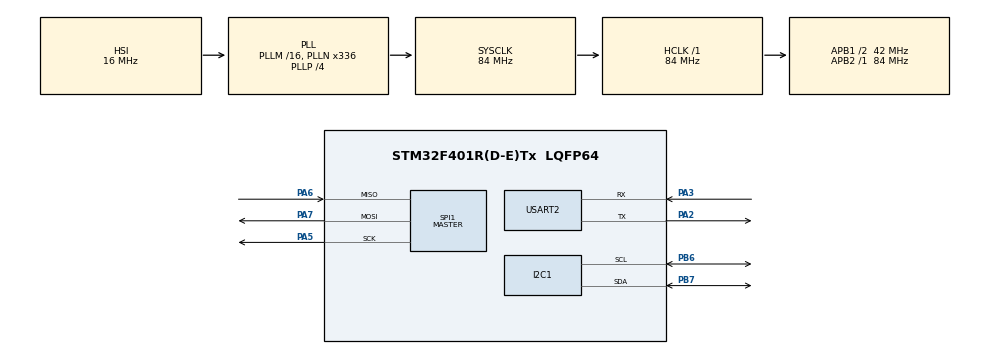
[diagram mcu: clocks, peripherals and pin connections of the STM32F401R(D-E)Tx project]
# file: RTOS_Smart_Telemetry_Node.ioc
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FREERTOS.Tasks01=defaultTask,24,128,StartDefaultTask,Default,NULL,Dynamic,NULL,NULL;SensorTask,24,128,StartSensorTask,As weak,NULL,Dynamic,NULL,NULL;LoggerTask,16,256,StartLoggerTask,As weak,NULL,Dynamic,NULL,NULL;DiagnosticsTask,8,128,StartDiagnosticsTask,As weak,NULL,Dynamic,NULL,NULL
Mcu.Family=STM32F4
Mcu.Name=STM32F401R(D-E)Tx
Mcu.Package=LQFP64
NVIC.PriorityGroup=NVIC_PRIORITYGROUP_4
NVIC.TIM2_IRQn=true\:15\:0\:false\:false\:true\:false\:false\:true\:true
NVIC.TimeBase=TIM2_IRQn
NVIC.TimeBaseIP=TIM2
PA2.Mode=Asynchronous
PA2.Signal=USART2_TX
PA3.Mode=Asynchronous
PA3.Signal=USART2_RX
PA5.Mode=Full_Duplex_Master
PA5.Signal=SPI1_SCK
PA6.Mode=Full_Duplex_Master
PA6.Signal=SPI1_MISO
PA7.Mode=Full_Duplex_Master
PA7.Signal=SPI1_MOSI
PB6.Mode=I2C
PB6.Signal=I2C1_SCL
PB7.Mode=I2C
PB7.Signal=I2C1_SDA
ProjectManager.HeapSize=0x200
ProjectManager.StackSize=0x400
ProjectManager.TargetToolchain=STM32CubeIDE
RCC.48MHZClocksFreq_Value=84000000
RCC.AHBFreq_Value=84000000
RCC.APB1CLKDivider=RCC_HCLK_DIV2
RCC.APB1Freq_Value=42000000
RCC.APB1TimFreq_Value=84000000
RCC.APB2Freq_Value=84000000
RCC.APB2TimFreq_Value=84000000
RCC.CortexFreq_Value=84000000
RCC.HCLKFreq_Value=84000000
RCC.HSE_VALUE=25000000
RCC.HSI_VALUE=16000000
RCC.LSE_VALUE=32768
RCC.PLLN=336
RCC.PLLP=RCC_PLLP_DIV4
RCC.SYSCLKFreq_VALUE=84000000
RCC.SYSCLKSource=RCC_SYSCLKSOURCE_PLLCLK
RCC.VCOOutputFreq_Value=336000000
SPI1.BaudRatePrescaler=SPI_BAUDRATEPRESCALER_16
SPI1.Direction=SPI_DIRECTION_2LINES
SPI1.Mode=SPI_MODE_MASTER
SPI1.VirtualType=VM_MASTER
USART2.VirtualMode=VM_ASYNC
VP_FREERTOS_VS_CMSIS_V2.Mode=CMSIS_V2
VP_SYS_VS_tim2.Mode=TIM2
board=custom

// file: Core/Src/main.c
/* USER CODE BEGIN Header */
/**
  ******************************************************************************
  * @file           : main.c
  * @brief          : Main program body
  ******************************************************************************
  * @attention
  *
  * Copyright (c) 2026 STMicroelectronics.
  * All rights reserved.
  *
  * This software is licensed under terms that can be found in the LICENSE file
  * in the root directory of this software component.
  * If no LICENSE file comes with this software, it is provided AS-IS.
  *
  ******************************************************************************
  */
/* USER CODE END Header */
#include "main.h"
#include "cmsis_os.h"
#include "i2c.h"
#include "spi.h"
#include "usart.h"
#include "gpio.h"

void SystemClock_Config(void);
void MX_FREERTOS_Init(void);

int main(void)
{

  /* MCU Configuration--------------------------------------------------------*/

  /* Reset of all peripherals, Initializes the Flash interface and the Systick. */
  HAL_Init();

  /* Configure the system clock */
  SystemClock_Config();

  /* Initialize all configured peripherals */
  MX_GPIO_Init();
  MX_I2C1_Init();
  MX_SPI1_Init();
  MX_USART2_UART_Init();

  /* Init scheduler */
  osKernelInitialize();  /* Call init function for freertos objects (in cmsis_os2.c) */
  MX_FREERTOS_Init();

  /* Start scheduler */
  osKernelStart();

  /* We should never get here as control is now taken by the scheduler */

  /* Infinite loop */
  while (1)
  {

  }
}

void SystemClock_Config(void)
{
  RCC_OscInitTypeDef RCC_OscInitStruct = {0};
  RCC_ClkInitTypeDef RCC_ClkInitStruct = {0};

  /** Configure the main internal regulator output voltage
  */
  __HAL_RCC_PWR_CLK_ENABLE();
  __HAL_PWR_VOLTAGESCALING_CONFIG(PWR_REGULATOR_VOLTAGE_SCALE2);

  /** Initializes the RCC Oscillators according to the specified parameters
  * in the RCC_OscInitTypeDef structure.
  */
  RCC_OscInitStruct.OscillatorType = RCC_OSCILLATORTYPE_HSI;
  RCC_OscInitStruct.HSIState = RCC_HSI_ON;
  RCC_OscInitStruct.HSICalibrationValue = RCC_HSICALIBRATION_DEFAULT;
  RCC_OscInitStruct.PLL.PLLState = RCC_PLL_ON;
  RCC_OscInitStruct.PLL.PLLSource = RCC_PLLSOURCE_HSI;
  RCC_OscInitStruct.PLL.PLLM = 16;
  RCC_OscInitStruct.PLL.PLLN = 336;
  RCC_OscInitStruct.PLL.PLLP = RCC_PLLP_DIV4;
  RCC_OscInitStruct.PLL.PLLQ = 4;
  if (HAL_RCC_OscConfig(&RCC_OscInitStruct) != HAL_OK)
  {
    Error_Handler();
  }

  /** Initializes the CPU, AHB and APB buses clocks
  */
  RCC_ClkInitStruct.ClockType = RCC_CLOCKTYPE_HCLK|RCC_CLOCKTYPE_SYSCLK
                              |RCC_CLOCKTYPE_PCLK1|RCC_CLOCKTYPE_PCLK2;
  RCC_ClkInitStruct.SYSCLKSource = RCC_SYSCLKSOURCE_PLLCLK;
  RCC_ClkInitStruct.AHBCLKDivider = RCC_SYSCLK_DIV1;
  RCC_ClkInitStruct.APB1CLKDivider = RCC_HCLK_DIV2;
  RCC_ClkInitStruct.APB2CLKDivider = RCC_HCLK_DIV1;

  if (HAL_RCC_ClockConfig(&RCC_ClkInitStruct, FLASH_LATENCY_2) != HAL_OK)
  {
    Error_Handler();
  }
}

void HAL_TIM_PeriodElapsedCallback(TIM_HandleTypeDef *htim)
{
  if (htim->Instance == TIM2)
  {
    HAL_IncTick();
  }
}

void Error_Handler(void)
{
  __disable_irq();
  while (1)
  {
  }
}

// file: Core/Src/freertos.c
/* USER CODE BEGIN Header */
/**
  ******************************************************************************
  * File Name          : freertos.c
  * Description        : Code for freertos applications
  ******************************************************************************
  * @attention
  *
  * Copyright (c) 2026 STMicroelectronics.
  * All rights reserved.
  *
  * This software is licensed under terms that can be found in the LICENSE file
  * in the root directory of this software component.
  * If no LICENSE file comes with this software, it is provided AS-IS.
  *
  ******************************************************************************
  */
/* USER CODE END Header */

#include "FreeRTOS.h"
#include "task.h"
#include "main.h"
#include "cmsis_os.h"

/* USER CODE BEGIN Includes */
#include "queue.h"
#include "semphr.h"
#include "i2c.h"
#include "spi.h"
#include "usart.h"
#include <stdio.h>
#include <string.h>
/* USER CODE END Includes */

/* USER CODE BEGIN Variables */
typedef struct {
    float temperature;
    float pressure;
} SensorData_t;

QueueHandle_t xSensorQueue = NULL;
SemaphoreHandle_t xSPI_Mutex = NULL;
/* USER CODE END Variables */
/* Definitions for defaultTask */
osThreadId_t defaultTaskHandle;
const osThreadAttr_t defaultTask_attributes = {
  .name = "defaultTask",
  .stack_size = 128 * 4,
  .priority = (osPriority_t) osPriorityNormal,
};
/* Definitions for SensorTask */
osThreadId_t SensorTaskHandle;
const osThreadAttr_t SensorTask_attributes = {
  .name = "SensorTask",
  .stack_size = 128 * 4,
  .priority = (osPriority_t) osPriorityNormal,
};
/* Definitions for LoggerTask */
osThreadId_t LoggerTaskHandle;
const osThreadAttr_t LoggerTask_attributes = {
  .name = "LoggerTask",
  .stack_size = 256 * 4,
  .priority = (osPriority_t) osPriorityBelowNormal,
};
/* Definitions for DiagnosticsTask */
osThreadId_t DiagnosticsTaskHandle;
const osThreadAttr_t DiagnosticsTask_attributes = {
  .name = "DiagnosticsTask",
  .stack_size = 128 * 4,
  .priority = (osPriority_t) osPriorityLow,
};

void StartDefaultTask(void *argument);
void StartSensorTask(void *argument);
void StartLoggerTask(void *argument);
void StartDiagnosticsTask(void *argument);

void MX_FREERTOS_Init(void); /* (MISRA C 2004 rule 8.1) */

void MX_FREERTOS_Init(void) {

  /* USER CODE BEGIN RTOS_QUEUES */
	xSensorQueue = xQueueCreate(5, sizeof(SensorData_t));

	xSPI_Mutex = xSemaphoreCreateMutex();
  /* USER CODE END RTOS_QUEUES */

  /* Create the thread(s) */
  /* creation of defaultTask */
  defaultTaskHandle = osThreadNew(StartDefaultTask, NULL, &defaultTask_attributes);

  /* creation of SensorTask */
  SensorTaskHandle = osThreadNew(StartSensorTask, NULL, &SensorTask_attributes);

  /* creation of LoggerTask */
  LoggerTaskHandle = osThreadNew(StartLoggerTask, NULL, &LoggerTask_attributes);

  /* creation of DiagnosticsTask */
  DiagnosticsTaskHandle = osThreadNew(StartDiagnosticsTask, NULL, &DiagnosticsTask_attributes);

}

void StartDefaultTask(void *argument)
{
  for(;;)
  {
    osDelay(1);
  }
}

/* USER CODE BEGIN Header_StartSensorTask */
void StartSensorTask(void *argument)
{
    /* USER CODE BEGIN StartSensorTask */

    SensorData_t data;
    uint8_t rawBuf[4];

    for (;;)
    {
        if (HAL_I2C_Mem_Read(&hi2c1, (0x76 << 1), 0xF7,
                             I2C_MEMADD_SIZE_8BIT, rawBuf, 4, 100) == HAL_OK)
        {
            data.temperature = 24.5f + ((float)(rawBuf[0] % 10) / 10.0f);
            data.pressure = 1013.25f;

            if (xSensorQueue != NULL)
            {
                xQueueSend(xSensorQueue, &data, portMAX_DELAY);
            }
        }

        vTaskDelay(pdMS_TO_TICKS(1000));
    }

    /* USER CODE END StartSensorTask */
}

void StartLoggerTask(void *argument)
{
    /* USER CODE BEGIN StartLoggerTask */

    SensorData_t receivedData;
    uint8_t spiTxData[2] = {0xAA, 0xBB};

    for (;;)
    {
        if (xQueueReceive(xSensorQueue, &receivedData, portMAX_DELAY) == pdPASS)
        {
            if (xSemaphoreTake(xSPI_Mutex, portMAX_DELAY) == pdTRUE)
            {
                HAL_SPI_Transmit(&hspi1, spiTxData, 2, 100);

                xSemaphoreGive(xSPI_Mutex);
            }
        }
    }

    /* USER CODE END StartLoggerTask */
}

void StartDiagnosticsTask(void *argument)
{
    /* USER CODE BEGIN StartDiagnosticsTask */

    char msg[64];

    for (;;)
    {
        snprintf(msg, sizeof(msg),
                 "\r\n[SYS DIAGNOSTICS] Kernel Uptime: %lu ms\r\n",
                 (unsigned long)(xTaskGetTickCount() * portTICK_PERIOD_MS));

        HAL_UART_Transmit(&huart2, (uint8_t *)msg, strlen(msg), 100);

        vTaskDelay(pdMS_TO_TICKS(5000));
    }

    /* USER CODE END StartDiagnosticsTask */
}
